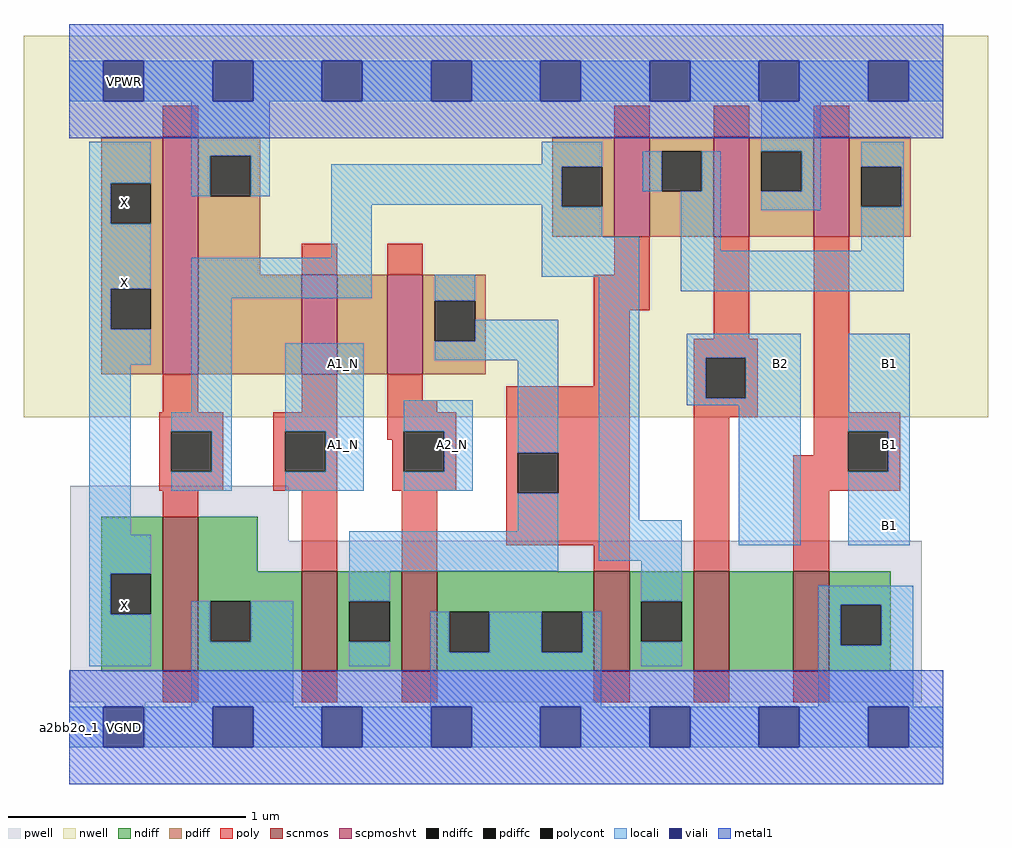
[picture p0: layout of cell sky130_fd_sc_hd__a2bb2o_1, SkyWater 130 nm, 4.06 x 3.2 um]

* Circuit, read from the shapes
.subckt sky130_fd_sc_hd__a2bb2o_1 VGND VPWR VPB VNB B1 B2 A2_N A1_N X
XM1 VGND n1 X VNB sky130_fd_pr__nfet_01v8 w=0.65 l=0.15
XM2 n2 A1_N VGND VNB sky130_fd_pr__nfet_01v8 w=0.42 l=0.15
XM3 VGND A2_N n2 VNB sky130_fd_pr__nfet_01v8 w=0.42 l=0.15
XM4 n1 n2 VGND VNB sky130_fd_pr__nfet_01v8 w=0.42 l=0.15
XM5 n3 B2 n1 VNB sky130_fd_pr__nfet_01v8 w=0.42 l=0.15
XM6 VGND B1 n3 VNB sky130_fd_pr__nfet_01v8 w=0.42 l=0.15
XM7 VPWR n1 X VPB sky130_fd_pr__pfet_01v8_hvt w=1 l=0.15
XM8 n4 A1_N VPWR VPB sky130_fd_pr__pfet_01v8_hvt w=0.42 l=0.15
XM9 n2 A2_N n4 VPB sky130_fd_pr__pfet_01v8_hvt w=0.42 l=0.15
XM10 n5 n2 n1 VPB sky130_fd_pr__pfet_01v8_hvt w=0.42 l=0.15
XM11 VPWR B2 n5 VPB sky130_fd_pr__pfet_01v8_hvt w=0.42 l=0.15
XM12 n5 B1 VPWR VPB sky130_fd_pr__pfet_01v8_hvt w=0.42 l=0.15
.ends

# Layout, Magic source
magic
tech sky130B
magscale 1 2
<< nwell >>
rect -38 221 774 542
<< pwell >>
rect 1 117 185 163
rect 1 -19 718 117
rect 30 -57 64 -19
<< scnmos >>
rect 79 7 109 137
rect 196 7 226 91
rect 280 7 310 91
rect 442 7 472 91
rect 526 7 556 91
rect 610 7 640 91
<< scpmoshvt >>
rect 79 257 109 457
rect 459 373 489 457
rect 543 373 573 457
rect 627 373 657 457
rect 196 257 226 341
rect 268 257 298 341
<< ndiff >>
rect 27 89 79 137
rect 27 55 35 89
rect 69 55 79 89
rect 27 7 79 55
rect 109 91 159 137
rect 109 66 196 91
rect 109 32 119 66
rect 153 32 196 66
rect 109 7 196 32
rect 226 66 280 91
rect 226 32 236 66
rect 270 32 280 66
rect 226 7 280 32
rect 310 57 442 91
rect 310 23 320 57
rect 354 23 398 57
rect 432 23 442 57
rect 310 7 442 23
rect 472 66 526 91
rect 472 32 482 66
rect 516 32 526 66
rect 472 7 526 32
rect 556 7 610 91
rect 640 63 692 91
rect 640 29 650 63
rect 684 29 692 63
rect 640 7 692 29
<< pdiff >>
rect 27 418 79 457
rect 27 384 35 418
rect 69 384 79 418
rect 27 329 79 384
rect 27 295 35 329
rect 69 295 79 329
rect 27 257 79 295
rect 109 441 161 457
rect 109 407 119 441
rect 153 407 161 441
rect 109 341 161 407
rect 407 432 459 457
rect 407 398 415 432
rect 449 398 459 432
rect 407 373 459 398
rect 489 445 543 457
rect 489 411 499 445
rect 533 411 543 445
rect 489 373 543 411
rect 573 445 627 457
rect 573 411 583 445
rect 617 411 627 445
rect 573 373 627 411
rect 657 432 709 457
rect 657 398 667 432
rect 701 398 709 432
rect 657 373 709 398
rect 109 257 196 341
rect 226 257 268 341
rect 298 319 351 341
rect 298 285 308 319
rect 342 285 351 319
rect 298 257 351 285
<< ndiffc >>
rect 35 55 69 89
rect 119 32 153 66
rect 236 32 270 66
rect 320 23 354 57
rect 398 23 432 57
rect 482 32 516 66
rect 650 29 684 63
<< pdiffc >>
rect 35 384 69 418
rect 35 295 69 329
rect 119 407 153 441
rect 415 398 449 432
rect 499 411 533 445
rect 583 411 617 445
rect 667 398 701 432
rect 308 285 342 319
<< poly >>
rect 79 457 109 483
rect 459 457 489 483
rect 543 457 573 483
rect 627 457 657 483
rect 196 341 226 367
rect 268 341 298 367
rect 459 341 489 373
rect 442 311 489 341
rect 79 225 109 257
rect 196 225 226 257
rect 76 209 130 225
rect 76 175 86 209
rect 120 175 130 209
rect 76 159 130 175
rect 172 209 226 225
rect 172 175 182 209
rect 216 175 226 209
rect 268 235 298 257
rect 442 247 472 311
rect 543 287 573 373
rect 268 225 310 235
rect 268 209 326 225
rect 268 202 282 209
rect 172 159 226 175
rect 272 175 282 202
rect 316 175 326 209
rect 272 159 326 175
rect 368 191 472 247
rect 79 137 109 159
rect 196 91 226 159
rect 280 91 310 159
rect 368 157 378 191
rect 412 157 472 191
rect 368 113 472 157
rect 442 91 472 113
rect 526 271 580 287
rect 526 237 536 271
rect 570 237 580 271
rect 526 221 580 237
rect 627 225 657 373
rect 526 91 556 221
rect 627 209 700 225
rect 627 189 656 209
rect 610 175 656 189
rect 690 175 700 209
rect 610 159 700 175
rect 610 91 640 159
rect 79 -19 109 7
rect 196 -19 226 7
rect 280 -19 310 7
rect 442 -19 472 7
rect 526 -19 556 7
rect 610 -19 640 7
<< polycont >>
rect 86 175 120 209
rect 182 175 216 209
rect 282 175 316 209
rect 378 157 412 191
rect 536 237 570 271
rect 656 175 690 209
<< locali >>
rect 0 487 29 521
rect 63 487 121 521
rect 155 487 213 521
rect 247 487 305 521
rect 339 487 397 521
rect 431 487 489 521
rect 523 487 581 521
rect 615 487 673 521
rect 707 487 736 521
rect 17 418 69 453
rect 17 384 35 418
rect 103 441 169 487
rect 103 407 119 441
rect 153 407 169 441
rect 398 434 449 453
rect 583 445 633 487
rect 221 432 449 434
rect 17 329 69 384
rect 221 400 415 432
rect 221 355 255 400
rect 17 295 35 329
rect 17 265 69 295
rect 103 321 255 355
rect 398 398 415 400
rect 483 411 499 445
rect 533 411 549 445
rect 398 373 449 398
rect 17 122 52 265
rect 103 225 137 321
rect 308 319 342 341
rect 398 339 480 373
rect 342 285 412 303
rect 86 209 137 225
rect 120 175 137 209
rect 86 159 137 175
rect 182 209 248 283
rect 308 269 412 285
rect 216 175 248 209
rect 182 159 248 175
rect 282 209 340 235
rect 316 175 340 209
rect 282 159 340 175
rect 378 191 412 269
rect 378 125 412 157
rect 17 89 69 122
rect 17 55 35 89
rect 236 91 412 125
rect 446 134 480 339
rect 515 361 549 411
rect 617 411 633 445
rect 583 395 633 411
rect 667 432 703 453
rect 701 398 703 432
rect 667 361 703 398
rect 515 327 703 361
rect 520 271 616 291
rect 520 237 536 271
rect 570 237 616 271
rect 520 231 616 237
rect 446 100 516 134
rect 564 113 616 231
rect 656 209 708 291
rect 690 175 708 209
rect 656 113 708 175
rect 236 66 270 91
rect 17 11 69 55
rect 103 32 119 66
rect 153 32 189 66
rect 103 -23 189 32
rect 482 66 516 100
rect 236 11 270 32
rect 304 23 320 57
rect 354 23 398 57
rect 432 23 448 57
rect 304 -23 448 23
rect 482 11 516 32
rect 631 63 711 79
rect 631 29 650 63
rect 684 29 711 63
rect 631 -23 711 29
rect 0 -57 29 -23
rect 63 -57 121 -23
rect 155 -57 213 -23
rect 247 -57 305 -23
rect 339 -57 397 -23
rect 431 -57 489 -23
rect 523 -57 581 -23
rect 615 -57 673 -23
rect 707 -57 736 -23
<< viali >>
rect 29 487 63 521
rect 121 487 155 521
rect 213 487 247 521
rect 305 487 339 521
rect 397 487 431 521
rect 489 487 523 521
rect 581 487 615 521
rect 673 487 707 521
rect 29 -57 63 -23
rect 121 -57 155 -23
rect 213 -57 247 -23
rect 305 -57 339 -23
rect 397 -57 431 -23
rect 489 -57 523 -23
rect 581 -57 615 -23
rect 673 -57 707 -23
<< metal1 >>
rect 0 521 736 552
rect 0 487 29 521
rect 63 487 121 521
rect 155 487 213 521
rect 247 487 305 521
rect 339 487 397 521
rect 431 487 489 521
rect 523 487 581 521
rect 615 487 673 521
rect 707 487 736 521
rect 0 456 736 487
rect 0 -23 736 8
rect 0 -57 29 -23
rect 63 -57 121 -23
rect 155 -57 213 -23
rect 247 -57 305 -23
rect 339 -57 397 -23
rect 431 -57 489 -23
rect 523 -57 581 -23
rect 615 -57 673 -23
rect 707 -57 736 -23
rect 0 -88 736 -57
<< labels >>
rlabel comment s 0 -40 0 -40 4 a2bb2o_1
flabel metal1 s 30 -57 64 -23 0 FreeSans 200 0 0 0 VGND
port 2 nsew
flabel metal1 s 30 487 64 521 0 FreeSans 200 0 0 0 VPWR
port 3 nsew
flabel nwell s 30 487 64 521 0 FreeSans 200 0 0 0 VPB
port 5 nsew
flabel pwell s 30 -57 64 -23 0 FreeSans 200 0 0 0 VNB
port 6 nsew
flabel locali s 30 487 64 521 0 FreeSans 200 0 0 0 VPWR
port 3 nsew
flabel locali s 30 -57 64 -23 0 FreeSans 200 0 0 0 VGND
port 2 nsew
flabel locali s 674 181 708 215 0 FreeSans 200 0 0 0 B1
port 7 nsew
flabel locali s 674 249 708 283 0 FreeSans 200 0 0 0 B1
port 7 nsew
flabel locali s 674 113 708 147 0 FreeSans 200 0 0 0 B1
port 7 nsew
flabel locali s 214 181 248 215 0 FreeSans 200 0 0 0 A1_N
port 10 nsew
flabel locali s 306 181 340 215 0 FreeSans 200 0 0 0 A2_N
port 9 nsew
flabel locali s 30 45 64 79 0 FreeSans 200 0 0 0 X
port 11 nsew
flabel locali s 582 249 616 283 0 FreeSans 200 0 0 0 B2
port 8 nsew
flabel locali s 214 249 248 283 0 FreeSans 200 0 0 0 A1_N
port 10 nsew
flabel locali s 30 385 64 419 0 FreeSans 200 0 0 0 X
port 11 nsew
flabel locali s 30 317 64 351 0 FreeSans 200 0 0 0 X
port 11 nsew
<< properties >>
string FIXED_BBOX 0 -40 736 504
string path 0.000 -1.000 18.400 -1.000 
<< end >>
